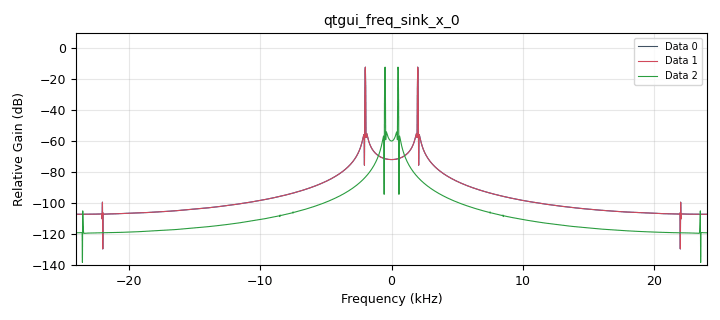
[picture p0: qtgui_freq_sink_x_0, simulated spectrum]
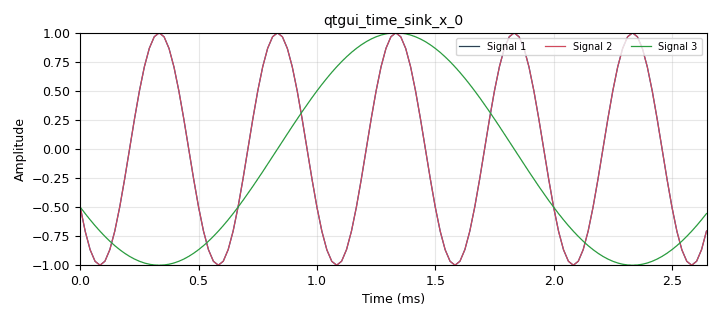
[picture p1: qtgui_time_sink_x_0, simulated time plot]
options:
  parameters:
    generate_options: qt_gui
    id: Lab1_punto4
    output_language: python
    title: Lab1_pnto4_Interpolado
  states: {}

blocks:
- name: freq
  id: variable_qtgui_range
  parameters:
    label: frequency
    start: '1000'
    step: '1000'
    stop: '40000'
    value: '4000'
  states: {}
- name: samp_rate
  id: variable
  parameters:
    value: '48000'
  states: {}
- name: analog_sig_source_x_0
  id: analog_sig_source_x
  parameters:
    amp: '1'
    freq: '4000'
    offset: '0'
    phase: '0'
    samp_rate: samp_rate
    type: float
    waveform: analog.GR_COS_WAVE
  states: {}
- name: analog_sig_source_x_1
  id: analog_sig_source_x
  parameters:
    amp: '1'
    freq: '4000'
    offset: '0'
    phase: '0'
    samp_rate: samp_rate
    type: float
    waveform: analog.GR_COS_WAVE
  states: {}
- name: analog_sig_source_x_2
  id: analog_sig_source_x
  parameters:
    amp: '1'
    freq: '1000'
    offset: '0'
    phase: '0'
    samp_rate: samp_rate
    type: float
    waveform: analog.GR_COS_WAVE
  states: {}
- name: blocks_throttle2_0
  id: blocks_throttle2
  parameters:
    samples_per_second: samp_rate
    type: float
  states: {}
- name: qtgui_freq_sink_x_0
  id: qtgui_freq_sink_x
  parameters:
    bw: samp_rate
    fc: '0'
    fftsize: '2048'
    nconnections: '3'
    type: float
    wintype: window.WIN_HAMMING
  states: {}
- name: qtgui_time_sink_x_0
  id: qtgui_time_sink_x
  parameters:
    nconnections: '3'
    size: '128'
    srate: samp_rate
    type: float
  states: {}
- name: rational_resampler_xxx_0
  id: rational_resampler_xxx
  parameters:
    decim: '1'
    interp: '2'
    type: fff
  states: {}
- name: rational_resampler_xxx_1
  id: rational_resampler_xxx
  parameters:
    decim: '1'
    interp: '2'
    type: fff
  states: {}
- name: rational_resampler_xxx_2
  id: rational_resampler_xxx
  parameters:
    decim: '1'
    interp: '2'
    type: fff
  states: {}

connections:
- [analog_sig_source_x_0, '0', rational_resampler_xxx_0, '0']
- [analog_sig_source_x_1, '0', rational_resampler_xxx_1, '0']
- [analog_sig_source_x_2, '0', rational_resampler_xxx_2, '0']
- [blocks_throttle2_0, '0', qtgui_freq_sink_x_0, '0']
- [blocks_throttle2_0, '0', qtgui_time_sink_x_0, '0']
- [rational_resampler_xxx_0, '0', blocks_throttle2_0, '0']
- [rational_resampler_xxx_1, '0', qtgui_freq_sink_x_0, '1']
- [rational_resampler_xxx_1, '0', qtgui_time_sink_x_0, '1']
- [rational_resampler_xxx_2, '0', qtgui_freq_sink_x_0, '2']
- [rational_resampler_xxx_2, '0', qtgui_time_sink_x_0, '2']

metadata:
  file_format: 1
  grc_version: 3.10.7.0
